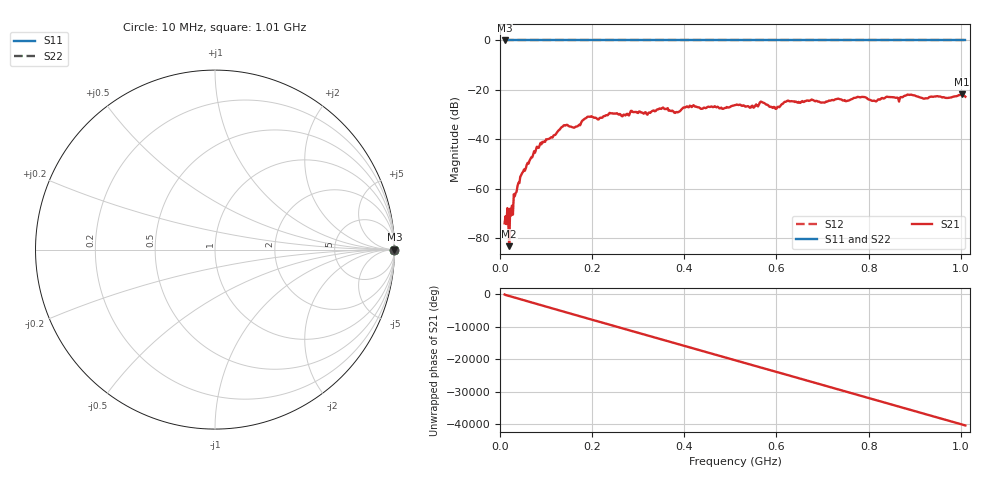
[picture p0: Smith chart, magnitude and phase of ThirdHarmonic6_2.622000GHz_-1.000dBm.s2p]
! 8/17/2025 5:48:38 AM
! C:\ANRITSUVNA\TEMP\TEMP.S2P
! CHANNEL.1
! TR.MEASUREMENT
! RAW.DATA
! RF.CORRECTION.OFF
! AVERAGING.OFF
! IF.BANDWIDTH: 5KHZ
! SWEEPTYPE:  FREQ.SWEEP(Linear)
! Reference Plane Port Info
! PORT:  PORT1  PORT2
! DISTANCE:  0  m  0  m
! TIME:  0  s  0  s
! PHASE.OFFSET:  0  deg.  0  deg.
! LOSS:  0  dB  0  dB
! REF.LOSS:  0  dB  0  dB
! REF.FREQ:  0  Hz  0  Hz
! Power Info
! POWER:  -20  dBm  -20  dBm
! EFF.POWER:  -20  dBm  -20  dBm
! SOURCE.ATTEN:  0  dB  0  dB
! TEST.ATTEN:  0  dB  0  dB
# GHZ S RI R 50.0
! FREQ.GHZ  S11RE  S11IM  S21RE  S21IM  S12RE  S12IM  S22RE  S22IM
!; PortSelection: Port_12
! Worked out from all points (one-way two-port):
!   501 points, 10 MHz to 1.01 GHz, reference 50 ohm
!   highest |S21| = -21.85 dB at 1.002 GHz (marker M1); lowest = -83.3 dB at 20 MHz (marker M2)
!   lowest |S11| = 0.0 dB at 10 MHz (marker M3)
!   |S11| at or under -10 dB: nowhere
!   |S22| runs from 0.0 to 0.0 dB; largest |S21 - S12| = 1.1
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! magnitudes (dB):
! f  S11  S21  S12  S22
! 10 MHz  0.0  -74.1  0.0  0.0
! 20 MHz  0.0  -83.3  0.0  0.0
! 24 MHz  0.0  -70.9  0.0  0.0
! 26 MHz  0.0  -66.9  0.0  0.0
! 34 MHz  0.0  -61.8  0.0  0.0
! 48 MHz  0.0  -53.7  0.0  0.0
! 78 MHz  0.0  -44.3  0.0  0.0
! 136 MHz  0.0  -34.9  0.0  0.0
! 164 MHz  0.0  -35.0  0.0  0.0
! 178 MHz  0.0  -32.6  0.0  0.0
! 194 MHz  0.0  -30.9  0.0  0.0
! 344 MHz  0.0  -27.9  0.0  0.0
! 382 MHz  0.0  -29.1  0.0  0.0
! 416 MHz  0.0  -27.0  0.0  0.0
! 510 MHz  0.0  -26.2  0.0  0.0
! 568 MHz  0.0  -24.9  0.0  0.0
! 596 MHz  0.0  -27.0  0.0  0.0
! 622 MHz  0.0  -24.6  0.0  0.0
! 678 MHz  0.0  -24.0  0.0  0.0
! 844 MHz  0.0  -22.9  0.0  0.0
! 1.002 GHz  0.0  -21.9  0.0  0.0
! 1.01 GHz  0.0  -22.8  0.0  0.0
